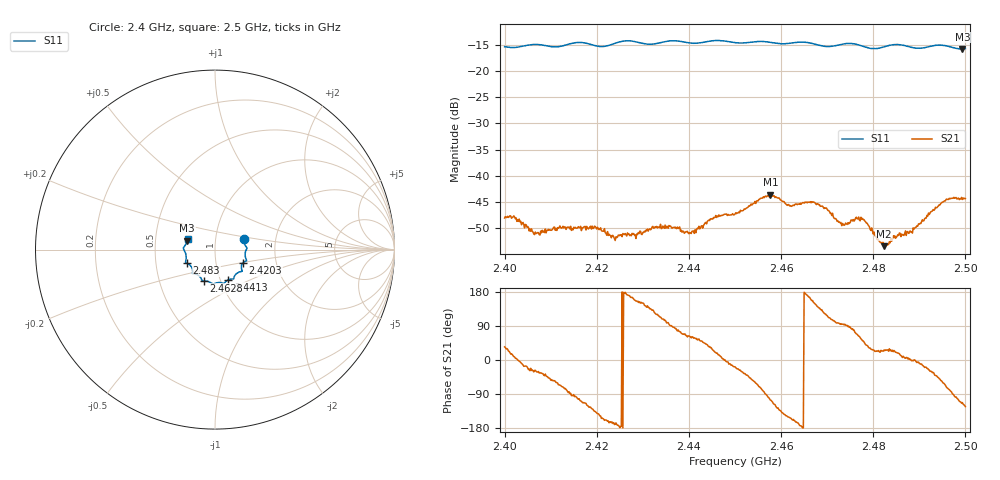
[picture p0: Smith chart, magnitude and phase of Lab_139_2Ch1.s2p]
# Hz S RI R 50
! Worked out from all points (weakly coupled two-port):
!   601 points, 2.4 GHz to 2.5 GHz, reference 50 ohm
!   highest |S21| = -43.57 dB at 2.4577 GHz (marker M1); lowest = -53.4 dB at 2.4823 GHz (marker M2)
!   lowest |S11| = -15.8 dB at 2.4993 GHz (marker M3), VSWR 1.39, Z = 36.5 + j3.71 ohm
!   |S11| at or under -10 dB: start of sweep to end of sweep
!   S12 and S22 are empty: the file has one direction only
!   S11 on the Smith chart (normalised r, x): 2.4 GHz: 1.37, +0.16; 2.4203 GHz: 1.35, -0.21; 2.4413 GHz: 1.09, -0.38; 2.4628 GHz: 0.83, -0.30; 2.483 GHz: 0.72, -0.11; 2.5 GHz: 0.73, +0.09
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2.4e9  0.1604 0.0569  0.00326 0.00225  0 0  0 0
2.402333e9  0.1644 0.0318  0.00389 0.00031  0 0  0 0
2.406667e9  0.1785 0.00853  0.00259 -0.00133  0 0  0 0
2.416667e9  0.1761 -0.0616  -0.000972 -0.00285  0 0  0 0
2.420333e9  0.155 -0.0739  -0.00246 -0.00195  0 0  0 0
2.424e9  0.1482 -0.1082  -0.00238 -0.000428  0 0  0 0
2.433333e9  0.1081 -0.1485  -0.0015 0.00288  0 0  0 0
2.441333e9  0.0743 -0.1679  0.00164 0.00258  0 0  0 0
2.445333e9  0.0515 -0.1873  0.00364 0.0017  0 0  0 0
2.45e9  0.0292 -0.1837  0.0041 -0.00133  0 0  0 0
2.457667e9  -0.0204 -0.1862  -0.00178 -0.00638  0 0  0 0
2.462833e9  -0.0632 -0.1748  -0.00488 -0.00182  0 0  0 0
2.466667e9  -0.0743 -0.1674  -0.0052 0.00224  0 0  0 0
2.473333e9  -0.1199 -0.1344  -0.000283 0.00351  0 0  0 0
2.477833e9  -0.1242 -0.1178  0.00244 0.00294  0 0  0 0
2.482333e9  -0.1498 -0.0793  0.00192 0.000941  0 0  0 0
2.483e9  -0.155 -0.0766  0.00195 0.000989  0 0  0 0
2.483333e9  -0.1572 -0.0757  0.00205 0.000877  0 0  0 0
2.488167e9  -0.1605 -0.0502  0.00293 1.41e-05  0 0  0 0
2.4955e9  -0.1741 0.0131  0.00252 -0.0052  0 0  0 0
2.499333e9  -0.1544 0.0496  -0.00226 -0.00551  0 0  0 0
2.5e9  -0.1525 0.0585  -0.00332 -0.00509  0 0  0 0
